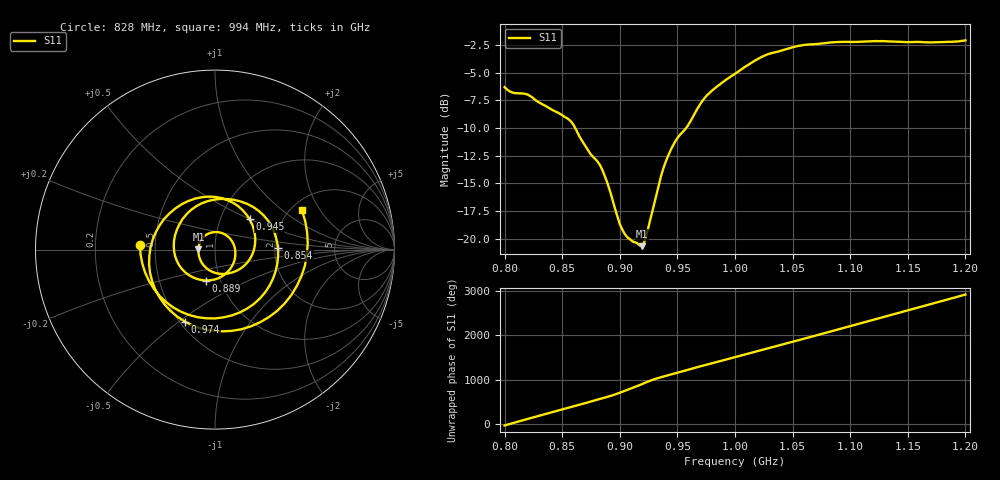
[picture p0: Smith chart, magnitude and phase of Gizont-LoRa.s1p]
! NanoVNA-App
! Date: 2026-05-22 19:29:55
! Start: 800MHz Stop: 1.2GHz Points: 401
! S-Parameter data: F S11
# Hz S RI R 50
!  Frequency  S11_Real  S11_Imag
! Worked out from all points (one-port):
!   401 points, 800 MHz to 1.2 GHz, reference 50 ohm
!   lowest |S11| = -20.7 dB at 919 MHz (marker M1), VSWR 1.20, Z = 41.5 + j0.206 ohm
!   |S11| at or under -10 dB: 861.3 MHz to 957.6 MHz (96.23 MHz wide, 10.6 % of centre)
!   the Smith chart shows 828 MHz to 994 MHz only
!   S11 on the Smith chart (normalised r, x): 828 MHz: 0.41, +0.03; 854 MHz: 2.08, +0.04; 889 MHz: 0.85, -0.30; 945 MHz: 1.37, +0.50; 974 MHz: 0.53, -0.53; 994 MHz: 2.27, +1.40
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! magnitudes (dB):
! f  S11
! 800 MHz  -6.3
! 807 MHz  -6.8
! 820 MHz  -7.0
! 828 MHz  -7.6
! 850 MHz  -8.8
! 854 MHz  -9.1
! 859 MHz  -9.6
! 873 MHz  -12.1
! 882 MHz  -13.2
! 889 MHz  -14.9
! 900 MHz  -18.7
! 903 MHz  -19.3
! 907 MHz  -19.9
! 919 MHz  -20.7
! 921 MHz  -20.4
! 923 MHz  -19.7
! 937 MHz  -13.9
! 945 MHz  -11.8
! 950 MHz  -10.9
! 959 MHz  -9.8
! 974 MHz  -7.2
! 994 MHz  -5.5
! 1 GHz  -5.1
! 1.025 GHz  -3.5
! 1.05 GHz  -2.7
! 1.1 GHz  -2.2
! 1.15 GHz  -2.2
! 1.2 GHz  -2.1
